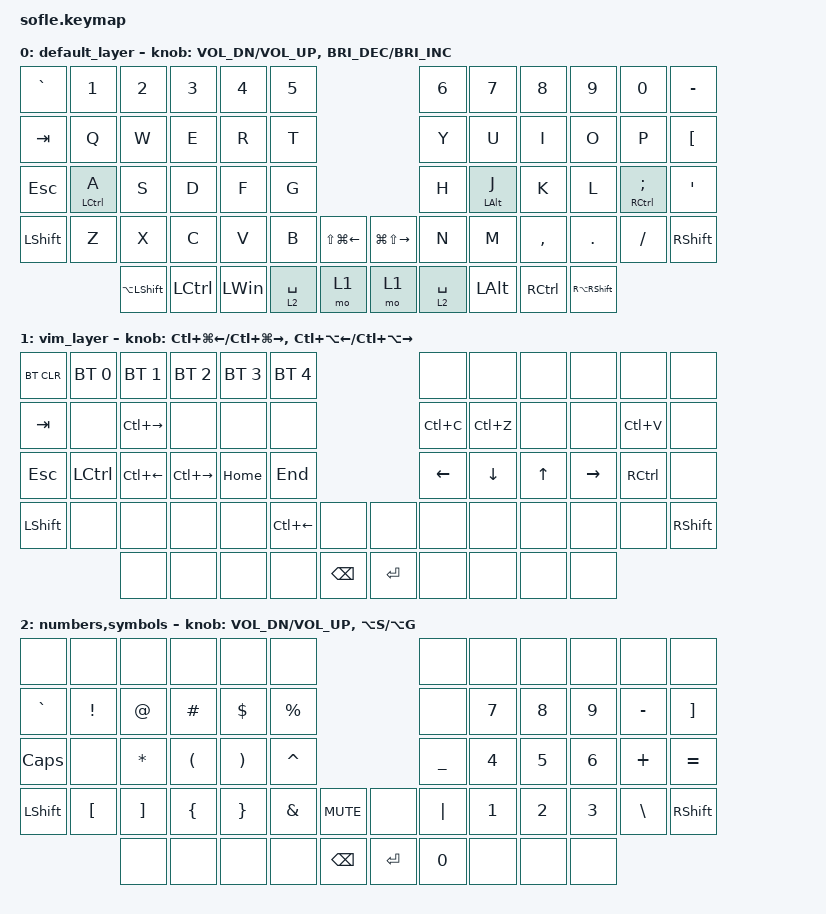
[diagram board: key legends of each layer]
/*
 * Copyright (c) 2020 The ZMK Contributors
 *
 * SPDX-License-Identifier: MIT
 */

#include <behaviors.dtsi>
#include <dt-bindings/zmk/bt.h>
#include <dt-bindings/zmk/keys.h>

/ {
    combos {
        compatible = "zmk,combos";

        Backspace {
            bindings = <&kp BACKSPACE>;
            key-positions = <19 20>;
        };

        Enter {
            bindings = <&kp ENTER>;
            key-positions = <20 21>;
        };

        Delete {
            bindings = <&kp DELETE>;
            key-positions = <14 15>;
        };
    };

    behaviors {
        hml: hml {
            compatible = "zmk,behavior-hold-tap";
            label = "HML";
            bindings = <&kp>, <&kp>;

            #binding-cells = <2>;
            tapping-term-ms = <150>;
            quick-tap-ms = <70>;
            require-prior-idle-ms = <50>;
            flavor = "balanced";
            hold-trigger-key-positions = <6 7 8 9 10 11 18 19 20 21 22 23 30 31 32 33 34 35 43 44 45 46 47 48 49 55 56 57 58 59>;
        };

        hmr: hmr {
            compatible = "zmk,behavior-hold-tap";
            label = "HMR";
            bindings = <&kp>, <&kp>;

            #binding-cells = <2>;
            tapping-term-ms = <150>;
            quick-tap-ms = <70>;
            require-prior-idle-ms = <50>;
            flavor = "balanced";
            hold-trigger-key-positions = <0 1 2 3 4 5 12 13 14 15 16 17 24 25 26 27 28 29 36 37 38 39 40 41 42 50 51 52 53 54>;
        };

        ml: ml {
            compatible = "zmk,behavior-hold-tap";
            label = "ML";
            bindings = <&mo>, <&kp>;

            #binding-cells = <2>;
            tapping-term-ms = <150>;
            quick-tap-ms = <80>;
            require-prior-idle-ms = <30>;
            flavor = "balanced";
            hold-trigger-key-positions = <0 1 2 4 5 6 7 9 10 11 12 13 14 15 16 17 18 19 20 21 22 23 24 25 26 27 28 29 30 31 32 33 34 35 36 37 38 39 40 41 42 43 44 45 46 47 48 49 50 51 52 53 54 55 56 57 58 59 8 3>;
        };
    };

    keymap {
        compatible = "zmk,keymap";

        default_layer {
            // ------------------------------------------------------------------------------------------------------------
            // |  `    |  1  |  2  |  3   |  4   |  5   |                         |  6   |  7    |  8    |  9   |   0   |       |
            // |  ESC  |  Q  |  W  |  E   |  R   |  T   |                         |  Y   |  U    |  I    |  O   |   P   | BKSPC |
            // |  TAB  |  A  |  S  |  D   |  F   |  G   |                         |  H   |  J    |  K    |  L   |   ;   |   '   |
            // | SHIFT |  Z  |  X  |  C   |  V   |  B   |  MUTE  |        | ExtPw |  N   |  M    |  ,    |  .   |   /   | SHIFT |
            //               | GUI | ALT  | CTRL | LOWER|  ENTER |        | SPACE | RAISE| CTRL  | ALT   | GUI  |

            bindings = <
&kp GRAVE  &kp N1               &kp N2              &kp N3            &kp N4        &kp N5                                              &kp N6       &kp N7           &kp N8             &kp N9               &kp N0                        &kp MINUS
&kp TAB    &kp Q                &kp W               &kp E             &kp R         &kp T                                               &kp Y        &kp U            &kp I              &kp O                &kp P                         &kp LEFT_BRACKET
&kp ESC    &hml LEFT_CONTROL A  &kp S               &kp D             &kp F         &kp G                                               &kp H        &hmr LEFT_ALT J  &kp K              &kp L                &hmr RIGHT_CONTROL SEMICOLON  &kp SQT
&kp LSHFT  &kp Z                &kp X               &kp C             &kp V         &kp B        &kp LS(LG(LEFT))    &kp LG(LS(RIGHT))  &kp N        &kp M            &kp COMMA          &kp DOT              &kp FSLH                      &kp RSHFT
                                &kp LA(LEFT_SHIFT)  &kp LEFT_CONTROL  &kp LEFT_WIN  &lt 2 SPACE  &mo 1               &mo 1              &lt 2 SPACE  &kp LEFT_ALT     &kp RIGHT_CONTROL  &kp RA(RIGHT_SHIFT)
            >;

            sensor-bindings =
                <&inc_dec_kp C_VOL_DN C_VOLUME_UP>,
                <&inc_dec_kp C_BRIGHTNESS_DEC C_BRIGHTNESS_INC>;
        };

        vim_layer {
            bindings = <
&bt BT_CLR      &bt BT_SEL 0      &bt BT_SEL 1   &bt BT_SEL 2   &bt BT_SEL 3  &bt BT_SEL 4                              &none      &none      &none   &none      &none              &none
&kp TAB         &none             &kp LC(RIGHT)  &none          &none         &none                                     &kp LC(C)  &kp LC(Z)  &none   &none      &kp LC(V)          &none
&kp ESC         &kp LEFT_CONTROL  &kp LC(LEFT)   &kp LC(RIGHT)  &kp HOME      &kp END                                   &kp LEFT   &kp DOWN   &kp UP  &kp RIGHT  &kp RIGHT_CONTROL  &none
&kp LEFT_SHIFT  &none             &none          &none          &none         &kp LC(LEFT)  &none            &none      &none      &none      &none   &none      &none              &kp RIGHT_SHIFT
                                  &none          &none          &none         &none         &kp BACKSPACE    &kp ENTER  &none      &none      &none   &none
            >;

            sensor-bindings =
                <&inc_dec_kp LC(LG(LEFT)) LC(LG(RIGHT))>,
                <&inc_dec_kp LC(LA(LEFT)) LC(LA(RIGHT))>;
        };

        numbers,symbols {
            bindings = <
&none           &none             &none              &none                 &none                  &none                                      &none           &none   &none   &none   &none          &none
&kp GRAVE       &kp EXCLAMATION   &kp AT_SIGN        &kp HASH              &kp DOLLAR             &kp PERCENT                                &none           &kp N7  &kp N8  &kp N9  &kp MINUS      &kp RIGHT_BRACKET
&kp CAPSLOCK    &none             &kp ASTERISK       &kp LEFT_PARENTHESIS  &kp RIGHT_PARENTHESIS  &kp CARET                                  &kp UNDERSCORE  &kp N4  &kp N5  &kp N6  &kp PLUS       &kp EQUAL
&kp LEFT_SHIFT  &kp LEFT_BRACKET  &kp RIGHT_BRACKET  &kp LEFT_BRACE        &kp RIGHT_BRACE        &kp AMPERSAND  &kp K_MUTE       &none      &kp PIPE        &kp N1  &kp N2  &kp N3  &kp BACKSLASH  &kp RIGHT_SHIFT
                                  &none              &none                 &none                  &none          &kp BACKSPACE    &kp ENTER  &kp N0          &none   &none   &none
            >;

            sensor-bindings =
                <&inc_dec_kp C_VOL_DN C_VOLUME_UP>,
                <&inc_dec_kp LA(S) LA(G)>;
        };
    };
};
